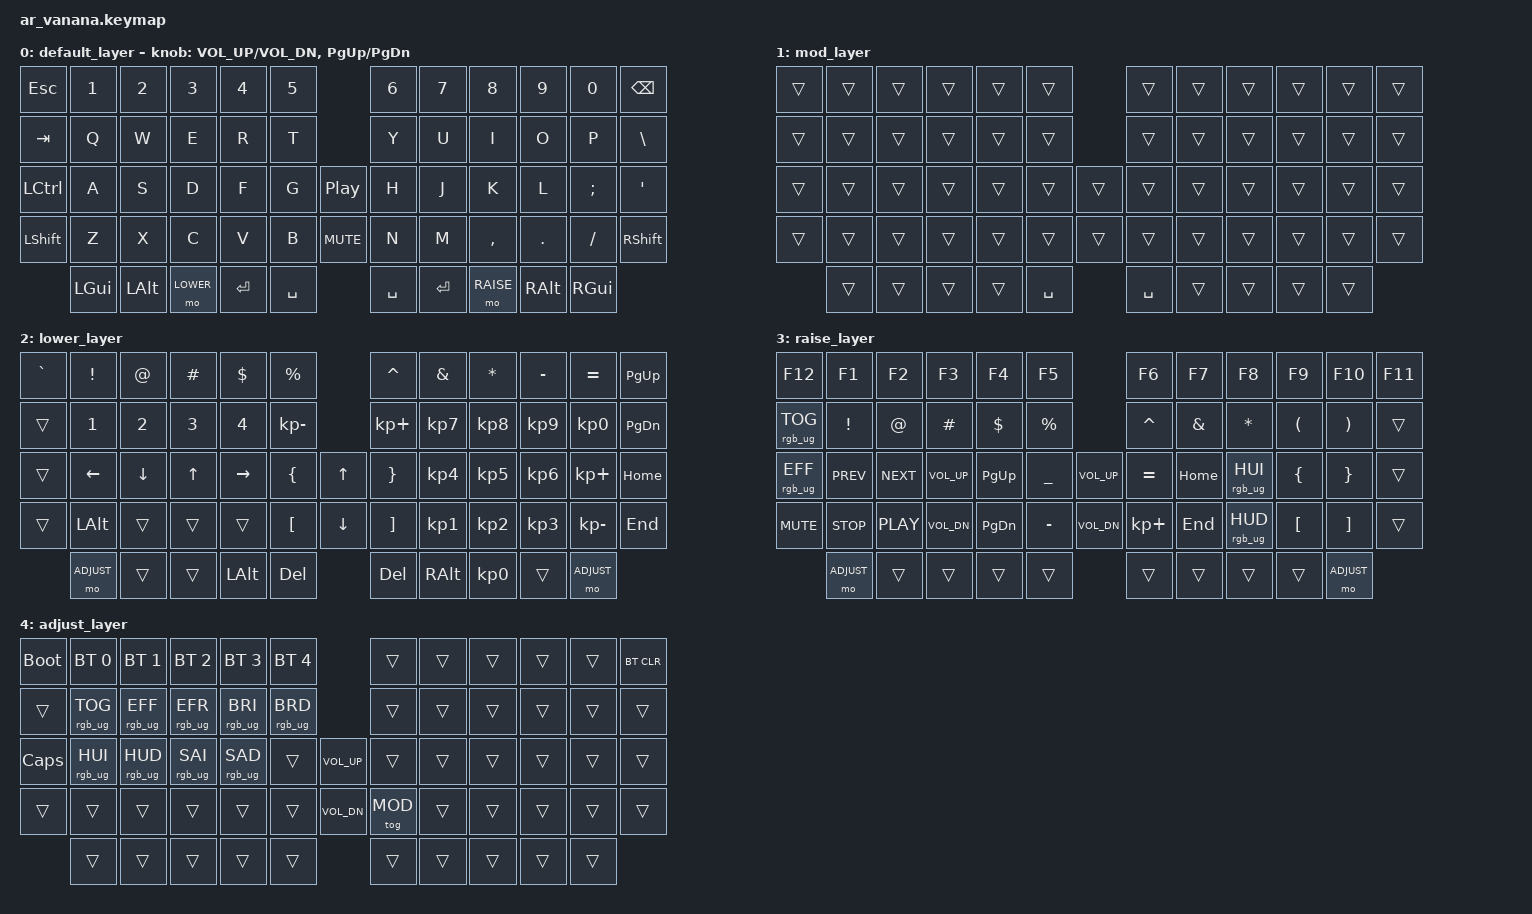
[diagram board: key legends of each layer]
/*
 * Copyright (c) 2020 dELLIKEEb
 *
 * SPDX-License-Identifier: MIT
 */

#include <behaviors.dtsi>
#include <dt-bindings/zmk/keys.h>
#include <dt-bindings/zmk/bt.h>
#include <dt-bindings/zmk/rgb.h>

// custom keycode defs for easier access
#define DEFAULT 0
#define MOD     1
#define LOWER   3
#define RAISE   4
#define ADJUST  5

// / {
//     behaviors {
//         hm: homerow_mods {
//             compatible = "zmk,behavior-hold-tap";
//             label = "homerow mods";
//             #binding-cells = <2>;
//             tapping_term_ms = <225>;
//             flavor = "tap-preferred";
//             bindings = <&kp>, <&kp>;
//         };
//     };
// };

// BASE
// -------------------------------------------               -------------------------------------------
// |   `  |   1  |   2  |   3  |   4  |   5  |               |   6  |   7  |   8  |   9  |   0  | Bksp |
// -------------------------------------------               -------------------------------------------
// | Tab  |   Q  |   W  |   E  |   R  |   T  |               |   Y  |   U  |   I  |   O  |   P  | Del  |
// -------------------------------------------   ---------  --------------------------------------------
// | Esc  |   A  |   S  |   D  |   F  |   G  |   | Right |   |   H  |   J  |   K  |   L  |   ;  |Enter |
// -------------------------------------------   ---------   -------------------------------------------
// | Shift|   Z  |   X  |   C  |   V  |   B  |   | LEFT  |   |   N  |   M  |   ,  |   .  |   /  | "    |
// -------------------------------------------   ---------   -------------------------------------------
//        | Ctrl | GUI  |  Alt |Lower |Space |               |Space |Raise |Alt   | DOWN | UP   |
//        ------------------------------------               ------------------------------------
// 

/ {
    keymap {
        compatible = "zmk,keymap";

        default_layer {
            bindings = <
                &kp ESC     &kp N1      &kp N2      &kp N3      &kp N4    &kp N5                    &kp N6      &kp N7      &kp N8      &kp N9      &kp N0      &kp BSPC
                &kp TAB     &kp Q       &kp W       &kp E       &kp R     &kp T                     &kp Y       &kp U       &kp I       &kp O       &kp P       &kp BSLH
                &kp LCTRL   &kp A       &kp S       &kp D       &kp F     &kp G         &kp C_PP    &kp H       &kp J       &kp K       &kp L       &kp SEMI    &kp SQT
                &kp LSHFT   &kp Z       &kp X       &kp C       &kp V     &kp B         &kp C_MUTE  &kp N       &kp M       &kp COMMA   &kp DOT     &kp FSLH    &kp RSHFT
                            &kp LGUI    &kp LALT    &mo LOWER   &kp ENTER &kp SPACE                 &kp SPACE   &kp ENTER   &mo RAISE   &kp RALT    &kp RGUI
            >;
            sensor-bindings = <&inc_dec_kp C_VOL_UP C_VOL_DN &inc_dec_kp PG_UP PG_DN>;
        };

        mod_layer {
            bindings = <
                &trans      &trans      &trans      &trans      &trans      &trans                  &trans      &trans      &trans      &trans      &trans      &trans  
                &trans      &trans      &trans      &trans      &trans      &trans                  &trans      &trans      &trans      &trans      &trans      &trans
                &trans      &trans      &trans      &trans      &trans      &trans      &trans      &trans      &trans      &trans      &trans      &trans      &trans
                &trans      &trans      &trans      &trans      &trans      &trans      &trans      &trans      &trans      &trans      &trans      &trans      &trans 
                            &trans      &trans      &trans      &trans      &kp SPC                 &kp SPC     &trans      &trans      &trans      &trans
            >;  
        };

        lower_layer {
            bindings = <
                &kp GRAVE   &kp EXCL    &kp AT      &kp POUND   &kp DLLR    &kp PRCNT               &kp CARET   &kp AMPS    &kp STAR    &kp MINUS   &kp EQUAL     &kp PG_UP  
                &trans    &kp N1      &kp N2      &kp N3        &kp N4      &kp KP_MINUS            &kp KP_PLUS &kp KP_N7   &kp KP_N8   &kp KP_N9   &kp KP_N0     &kp PG_DN
                &trans    &kp LEFT    &kp DOWN    &kp UP        &kp RIGHT   &kp LBRC    &kp UP      &kp RBRC    &kp KP_N4   &kp KP_N5   &kp KP_N6   &kp KP_PLUS   &kp HOME
                &trans      &kp LALT    &trans      &trans      &trans      &kp LBKT    &kp DOWN    &kp RBKT    &kp KP_N1   &kp KP_N2   &kp KP_N3   &kp KP_MINUS  &kp END
                            &mo ADJUST     &trans      &trans      &kp LALT    &kp DEL                 &kp DEL     &kp RALT    &kp KP_N0   &trans      &mo ADJUST
            >;
        };

        raise_layer {
            bindings = <
                &kp F12              &kp F1      &kp F2      &kp F3            &kp F4      &kp F5                      &kp F6      &kp F7      &kp F8             &kp F9      &kp F10     &kp F11  
                &rgb_ug RGB_TOG      &kp EXCL    &kp AT      &kp POUND         &kp DLLR    &kp PRCNT                   &kp CARET   &kp AMPS    &kp STAR           &kp LPAR    &kp RPAR    &trans
                &rgb_ug RGB_EFF          &kp C_PREV  &kp C_NEXT  &kp C_VOL_UP      &kp PG_UP   &kp UNDER     &kp C_VOL_UP  &kp EQUAL   &kp HOME    &rgb_ug RGB_HUI    &kp LBRC    &kp RBRC    &trans 
                &kp C_MUTE           &kp C_STOP  &kp C_PLAY  &kp C_VOL_DN      &kp PG_DN   &kp MINUS     &kp C_VOL_DN  &kp KP_PLUS &kp END     &rgb_ug RGB_HUD    &kp LBKT    &kp RBKT    &trans
                                     &mo ADJUST  &trans      &trans            &trans      &trans                      &trans      &trans      &trans             &trans      &mo ADJUST
            >;
        };
        
        adjust_layer {
            bindings = <
                &bootloader &bt BT_SEL 0    &bt BT_SEL 1    &bt BT_SEL 2    &bt BT_SEL 3    &bt BT_SEL 4                    &trans      &trans      &trans      &trans      &trans      &bt BT_CLR        
                &trans      &rgb_ug RGB_TOG &rgb_ug RGB_EFF &rgb_ug RGB_EFR &rgb_ug RGB_BRI &rgb_ug RGB_BRD                 &trans      &trans      &trans      &trans      &trans      &trans
                &kp CAPS    &rgb_ug RGB_HUI &rgb_ug RGB_HUD &rgb_ug RGB_SAI &rgb_ug RGB_SAD &trans          &kp C_VOL_UP    &trans      &trans      &trans      &trans      &trans      &trans  
                &trans      &trans          &trans          &trans          &trans          &trans          &kp C_VOL_DN    &tog MOD    &trans    &trans      &trans      &trans      &trans  
                            &trans          &trans          &trans          &trans          &trans                          &trans      &trans      &trans      &trans      &trans
            >;
        };

    };
};
